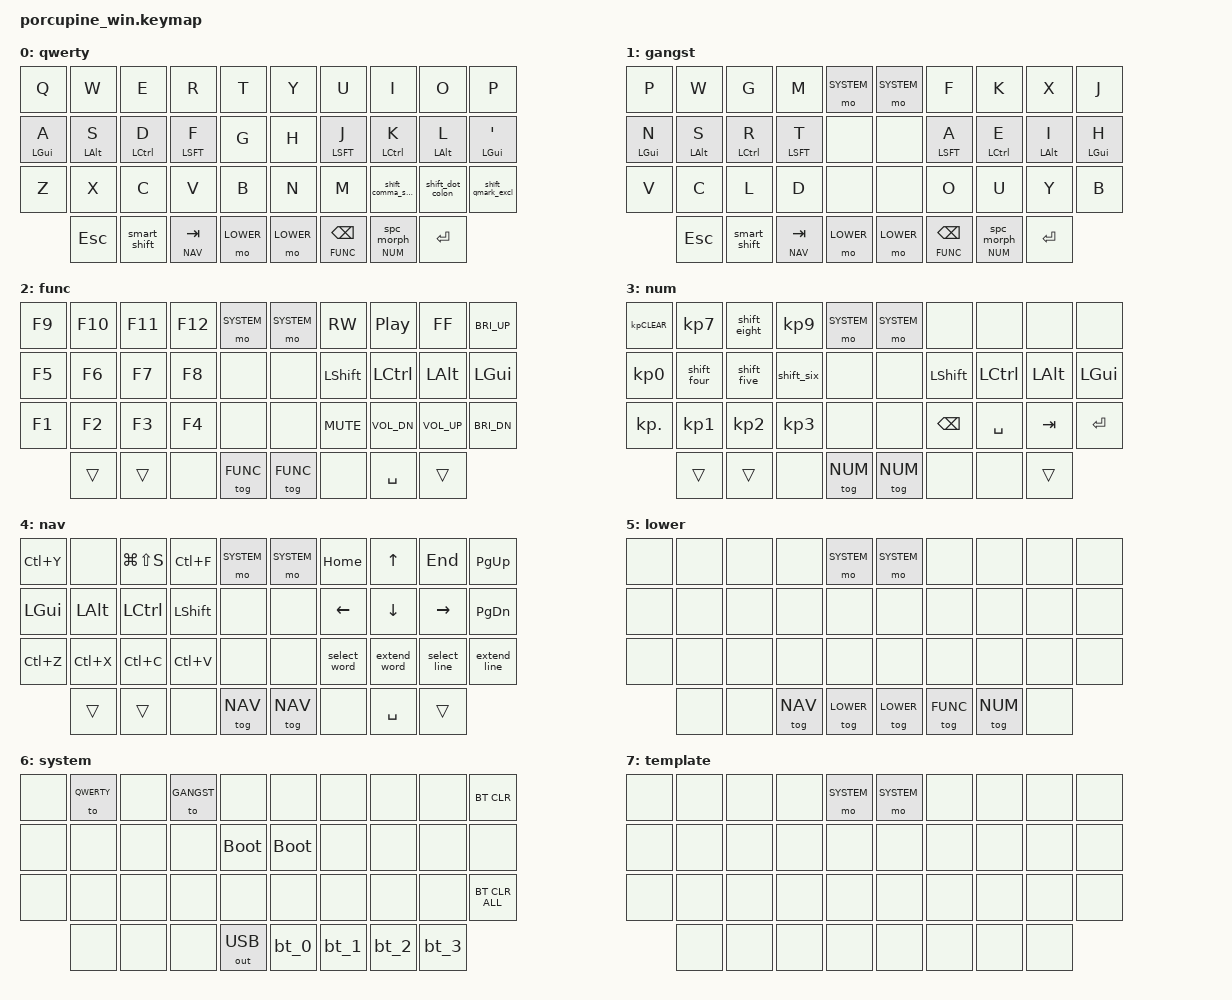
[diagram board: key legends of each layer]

/*
 * Copyright (c) 2021 The ZMK Contributors
 *
 * SPDX-License-Identifier: MIT
 */

#include <behaviors.dtsi>
#include <dt-bindings/zmk/keys.h>
#include <dt-bindings/zmk/bt.h>
#include <dt-bindings/zmk/outputs.h>

/* Helper Macros, based on https://github.com/urob/zmk-helpers/ */

#pragma once

#define ZMK_HELPER_STRINGIFY(x) #x

// Preprocessor mechanism to overload macros, cf. https://stackoverflow.com/a/27051616/6114651
#define VARGS_(_10, _9, _8, _7, _6, _5, _4, _3, _2, _1, N, ...) N
#define VARGS(...) VARGS_(__VA_ARGS__, 10, 9, 8, 7, 6, 5, 4, 3, 2, 1, 0)
#define CONCAT_(a, b) a##b
#define CONCAT(a, b) CONCAT_(a, b)

#define ZMK_BEHAVIOR_CORE_tap_dance  \
    compatible = "zmk,behavior-tap-dance"; \
    #binding-cells = <0>

#define ZMK_BEHAVIOR(name, type, ...) \
    name: name { \
        ZMK_BEHAVIOR_CORE_ ## type; \
        __VA_ARGS__ \
    };

#define ZMK_TAP_DANCE(name, ...) \
    ZMK_BEHAVIOR(name, tap_dance, __VA_ARGS__)

#define ZMK_TD_LAYER(name, layer) \
    ZMK_TAP_DANCE(name, \
        tapping-term-ms = <200>; \
        bindings = <&mo layer>, <&to layer>; \
)

#define QWERTY 0
#define GANGST 1
#define FUNC 2
#define NUM 3
#define NAV 4
#define LOWER 5
#define SYSTEM 6

/* System behavior and Macros */
/ {
    behaviors {
        // hold: momentary layer | dbl-tap: to layer
        ZMK_TD_LAYER(lower, LOWER)
    };
};

/* Blue-tooth controls */
/ {
    #ifdef BT_DISC_CMD
        // blue-tooth toggle
        behaviors {
            bt_0: bt_0 {
                compatible = "zmk,behavior-tap-dance";
                label = "BT_0";
                #binding-cells = <0>;
                tapping-term-ms = <200>;
                bindings = <&bt_select_0>, <&bt BT_DISC 0>;
            };
            bt_1: bt_1 {
                compatible = "zmk,behavior-tap-dance";
                label = "BT_1";
                #binding-cells = <0>;
                tapping-term-ms = <200>;
                bindings = <&bt_select_1>, <&bt BT_DISC 1>;
            };
            bt_2: bt_2 {
                compatible = "zmk,behavior-tap-dance";
                label = "BT_2";
                #binding-cells = <0>;
                tapping-term-ms = <200>;
                bindings = <&bt_select_2>, <&bt BT_DISC 2>;
            };
            bt_3: bt_3 {
                compatible = "zmk,behavior-tap-dance";
                label = "BT_3";
                #binding-cells = <0>;
                tapping-term-ms = <200>;
                bindings = <&bt_select_3>, <&bt BT_DISC 3>;
            };
        };
        macros {
            bt_select_0: bt_select_0 {
                label = "BT_SELECT_0";
                compatible = "zmk,behavior-macro";
                #binding-cells = <0>;
                bindings
                    = <&out OUT_BLE>,
                      <&bt BT_SEL 0>;
            };
            bt_select_1: bt_select_1 {
                label = "BT_SELECT_1";
                compatible = "zmk,behavior-macro";
                #binding-cells = <0>;
                bindings
                    = <&out OUT_BLE>,
                      <&bt BT_SEL 1>;
            };
            bt_select_2: bt_select_2 {
                label = "BT_SELECT_2";
                compatible = "zmk,behavior-macro";
                #binding-cells = <0>;
                bindings
                    = <&out OUT_BLE>,
                      <&bt BT_SEL 2>;
            };
            bt_select_3: bt_select_3 {
                label = "BT_SELECT_3";
                compatible = "zmk,behavior-macro";
                #binding-cells = <0>;
                bindings
                    = <&out OUT_BLE>,
                      <&bt BT_SEL 3>;
            };
        };
    #else
        // simple set blue-tooth
        macros {
            bt_0: bt_0 {
                label = "BT_0";
                compatible = "zmk,behavior-macro";
                #binding-cells = <0>;
                bindings
                    = <&out OUT_BLE>,
                      <&bt BT_SEL 0>;
            };
            bt_1: bt_1 {
                label = "BT_1";
                compatible = "zmk,behavior-macro";
                #binding-cells = <0>;
                bindings
                    = <&out OUT_BLE>,
                      <&bt BT_SEL 1>;
            };
            bt_2: bt_2 {
                label = "BT_2";
                compatible = "zmk,behavior-macro";
                #binding-cells = <0>;
                bindings
                    = <&out OUT_BLE>,
                      <&bt BT_SEL 2>;
            };
            bt_3: bt_3 {
                label = "BT_3";
                compatible = "zmk,behavior-macro";
                #binding-cells = <0>;
                bindings
                    = <&out OUT_BLE>,
                      <&bt BT_SEL 3>;
            };
        };
    #endif
};

/* Custom Defined Behaviors */
/ {
    // *************
    // OS specific values to use.
    //
    // - https://en.wikipedia.org/wiki/Table_of_keyboard_shortcuts
    // *************

    //win
    #define LOCK       LG(L)
    #define HOME       HOME
    #define END        END
    #define FWD        RIGHT
    #define BACK       LEFT
    #define UNDO       LC(Z)
    #define REDO       LC(Y)
    #define CUT        LC(X)
    #define COPY       LC(C)
    #define PASTE      LC(V)
    #define FIND       LC(F)
    #define FIND_NEXT  LC(G)
    #define FIND_PREV  LC(LS(G))
    #define PRNT_SCRN  LG(LS(S))


    // *************
    // key positions
    // *************

    //left

    //top
    #define KEY_LH_TP 0
    #define KEY_LH_TR 1
    #define KEY_LH_TM 2
    #define KEY_LH_TI 3
    #define KEY_LH_TX 4

    //mid
    #define KEY_LH_MP 10
    #define KEY_LH_MR 11
    #define KEY_LH_MM 12
    #define KEY_LH_MI 13
    #define KEY_LH_MX 14

    //bot
    #define KEY_LH_BP 20
    #define KEY_LH_BR 21
    #define KEY_LH_BM 22
    #define KEY_LH_BI 23
    #define KEY_LH_BX 24

    //thumb cluster (inner, left, home, right)
    #define KEY_LH_THI 30
    #define KEY_LH_THL 31
    #define KEY_LH_THH 32
    #define KEY_LH_THR 33

    //right

    //top
    #define KEY_RH_TX 5
    #define KEY_RH_TI 6
    #define KEY_RH_TM 7
    #define KEY_RH_TR 8
    #define KEY_RH_TP 9

    //mid
    #define KEY_RH_MX 15
    #define KEY_RH_MI 16
    #define KEY_RH_MM 17
    #define KEY_RH_MR 18
    #define KEY_RH_MP 19

    //bot
    #define KEY_RH_BX 25
    #define KEY_RH_BI 26
    #define KEY_RH_BM 27
    #define KEY_RH_BR 28
    #define KEY_RH_BP 29

    //thumb cluster (left, home, right, inner)
    #define KEY_RH_THL 34
    #define KEY_RH_THH 35
    #define KEY_RH_THR 36
    #define KEY_RH_THI 37

    behaviors {
        #define TAPPING_TERM_MS 280
        #define QUICK_TAP_MS 175
        #define PRIOR_IDLE_MS 150
        #define SELECT_WORD_DELAY 1

        // custom caps_word
        kaps_word: kaps_word {
            compatible = "zmk,behavior-caps-word";
            #binding-cells = <0>;
            continue-list = <
                UNDERSCORE MINUS
                BACKSPACE DELETE
                N1 N2 N3 N4 N5 N6 N7 N8 N9 N0
                KP_N1 KP_N2 KP_N3 KP_N4 KP_N5 KP_N6 KP_N7 KP_N8 KP_N9 KP_N0
            >;
        };

        // sticky-key config
        skq: sticky_key_quick_release {
            compatible = "zmk,behavior-sticky-key";
            #binding-cells = <1>;
            bindings = <&kp>;
            release-after-ms = <2000>;
            quick-release;
            ignore-modifiers;
        };

        // *************
        // Home Row Mods
        // *************

        #define LEFT_KEYS                                \
              0  1  2  3  4                              \
             10 11 12 13 14                              \
             20 21 22 23 24
        #define                             RIGHT_KEYS   \
                                           5  6  7  8  9 \
                                          15 16 17 18 19 \
                                          25 26 27 28 29
        #define THUMB_KEYS                               \
                      30 31 32 33   34 35 36 37

        hrm_left: homerow_mods_left {
            compatible = "zmk,behavior-hold-tap";
            label = "HOMEROW_MODS_LEFT";
            flavor = "balanced";
            tapping-term-ms = <TAPPING_TERM_MS>;
            quick_tap_ms = <QUICK_TAP_MS>;
            require-prior-idle-ms = <PRIOR_IDLE_MS>;
            #binding-cells = <2>;
            bindings = <&kp>, <&kp>;
            hold-trigger-key-positions = <RIGHT_KEYS THUMB_KEYS>;
            hold-trigger-on-release;
        };

        hrm_right: homerow_mods_right {
            compatible = "zmk,behavior-hold-tap";
            label = "HOMEROW_MODS_RIGHT";
            flavor = "balanced";
            tapping-term-ms = <TAPPING_TERM_MS>;
            quick_tap_ms = <QUICK_TAP_MS>;
            require-prior-idle-ms = <PRIOR_IDLE_MS>;
            #binding-cells = <2>;
            bindings = <&kp>, <&kp>;
            hold-trigger-key-positions = <LEFT_KEYS THUMB_KEYS>;
            hold-trigger-on-release;
        };

        // *************
        // Custom shift keys
        // *************

        // tap: comma | shift + tap: semicolon
        shift_comma_semi: shift_comma_semi {
            compatible = "zmk,behavior-mod-morph";
            #binding-cells = <0>;
            bindings = <&kp COMMA>, <&kp SEMI>;
            mods = <(MOD_LSFT|MOD_RSFT)>;
        };

        // tap: dot | shift + tap: colon
        shift_dot_colon: shift_dot_colon {
            compatible = "zmk,behavior-mod-morph";
            #binding-cells = <0>;
            bindings = <&kp DOT>, <&kp COLON>;
            mods = <(MOD_LSFT|MOD_RSFT)>;
        };

        // tap: qmark | shift + tap: excl
        shift_qmark_excl: shift_qmark_excl {
            compatible = "zmk,behavior-mod-morph";
            #binding-cells = <0>;
            bindings = <&kp QMARK>, <&kp EXCL>;
            mods = <(MOD_LSFT|MOD_RSFT)>;
        };

        // tap: lparen | shift + tap: rparen
        shift_parens: shift_parens {
            compatible = "zmk,behavior-mod-morph";
            #binding-cells = <0>;
            bindings = <&kp LPAR>, <&kp RPAR>;
            mods = <(MOD_LSFT|MOD_RSFT)>;
        };

        // tap: less_than | shift + tap: greater_than
        shift_angle: shift_angle {
                compatible = "zmk,behavior-mod-morph";
                #binding-cells = <0>;
                bindings = <&kp LESS_THAN>, <&kp GREATER_THAN>;
                mods = <(MOD_LSFT|MOD_RSFT)>;
            };

        // tap: lbracket | shift + tap: rbracket
        shift_brackets: shift_brackets {
            compatible = "zmk,behavior-mod-morph";
            #binding-cells = <0>;
            bindings = <&kp LBKT>, <&kp RBKT>;
            mods = <(MOD_LSFT|MOD_RSFT)>;
        };

        // tap: lbrace | shift + tap: rbrace
        shift_braces: shift_braces {
            compatible = "zmk,behavior-mod-morph";
            #binding-cells = <0>;
            bindings = <&kp LBRC>, <&kp RBRC>;
            mods = <(MOD_LSFT|MOD_RSFT)>;
        };

        // tap: sticky-shift | shift + tap/double-tap: caps-word | hold: shift
        smart_shift: smart_shift {
            compatible = "zmk,behavior-mod-morph";
            #binding-cells = <0>;
            bindings = <&skq LSHFT>, <&kaps_word>;
            mods = <(MOD_LSFT)>;
        };

        // tap: dot | shift + tap: extend_line_right
        shift_dot: shift_dot {
            compatible = "zmk,behavior-mod-morph";
            #binding-cells = <0>;
            bindings = <&kp KP_DOT>, <&extend_line_right>;
            mods = <(MOD_LSFT|MOD_RSFT)>;
        };

        // tap: 4 | shift + tap: left
        shift_four: shift_four {
            compatible = "zmk,behavior-mod-morph";
            #binding-cells = <0>;
            bindings = <&kp KP_N4>, <&kp LEFT>;
            mods = <(MOD_LSFT|MOD_RSFT)>;
        };

        // tap: 5 | shift + tap: down
        shift_five: shift_five {
            compatible = "zmk,behavior-mod-morph";
            #binding-cells = <0>;
            bindings = <&kp KP_N5>, <&kp DOWN>;
            mods = <(MOD_LSFT|MOD_RSFT)>;
        };

        // tap: 6 | shift + tap: right
        shift_six: shift_six {
            compatible = "zmk,behavior-mod-morph";
            #binding-cells = <0>;
            bindings = <&kp KP_N6>, <&kp RIGHT>;
            mods = <(MOD_LSFT|MOD_RSFT)>;
        };

        // tap: 8 | shift + tap: up
        shift_eight: shift_eight {
            compatible = "zmk,behavior-mod-morph";
            #binding-cells = <0>;
            bindings = <&kp KP_N8>, <&kp UP>;
            mods = <(MOD_LSFT|MOD_RSFT)>;
        };

        // *************
        // Custom layer tap
        // *************

        lt_thumb: layer_tap_thumb {
            compatible = "zmk,behavior-hold-tap";
            #binding-cells = <2>;
            flavor = "balanced";
            tapping-term-ms = <200>;
            quick-tap-ms = <QUICK_TAP_MS>;
            require-prior-idle-ms = <PRIOR_IDLE_MS>;
            bindings = <&mo>, <&kp>;
        };

        // tap: space | shift + tap: dot -> space -> sticky shift | hold: activate layer
        lt_space: lt_spc {
            compatible = "zmk,behavior-hold-tap";
            #binding-cells = <2>;
            flavor = "balanced";
            tapping-term-ms = <200>;
            quick-tap-ms = <QUICK_TAP_MS>;
            bindings = <&mo>, <&spc_morph>;
        };

        // tap: space | shift + tap: dot -> space -> sticky shift
        spc_morph: spc_morph {
            compatible = "zmk,behavior-mod-morph";
            #binding-cells = <0>;
            mods = <(MOD_LSFT|MOD_RSFT)>;
            bindings = <&kp SPACE>, <&dot_spc>;
        };

        //macro: dot -> space -> sticky shift
        dot_spc: dot_spc {
            compatible = "zmk,behavior-macro";
            #binding-cells = <0>;
            wait-ms = <0>;
            tap-ms = <5>;
            bindings = <&kp DOT &kp SPACE &skq LSHFT>;
        };

        // tap: selects word to right | shift + tab: selects word to left
        select_word: select_word {
            compatible = "zmk,behavior-mod-morph";
            #binding-cells = <0>;
            bindings = <&select_word_right>, <&select_word_left>;
            mods = <(MOD_LSFT|MOD_RSFT)>;
        };
        ZMK_MACRO(select_word_right,
            wait-ms = <SELECT_WORD_DELAY>;
            tap-ms = <SELECT_WORD_DELAY>;
            bindings = <&kp LC(RIGHT) &kp LC(LEFT) &kp LC(LS(RIGHT))>;
        )
        ZMK_MACRO(select_word_left,
            wait-ms = <SELECT_WORD_DELAY>;
            tap-ms = <SELECT_WORD_DELAY>;
            bindings = <&kp LC(LEFT) &kp LC(RIGHT) &kp LC(LS(LEFT))>;
        )

        // tap: extends current selection one word right | shift + tap: extends current selection one word left
        extend_word: extend_word {
            compatible = "zmk,behavior-mod-morph";
            #binding-cells = <0>;
            bindings = <&extend_word_right>, <&extend_word_left>;
            mods = <(MOD_LSFT|MOD_RSFT)>;
        };
        ZMK_MACRO(extend_word_right,
            wait-ms = <SELECT_WORD_DELAY>;
            tap-ms = <SELECT_WORD_DELAY>;
            bindings = <&kp LC(LS(RIGHT))>;
        )
        ZMK_MACRO(extend_word_left,
            wait-ms = <SELECT_WORD_DELAY>;
            tap-ms = <SELECT_WORD_DELAY>;
            bindings = <&kp LC(LS(LEFT))>;
        )

        // tap: selects current line to right | shift + tap: select current line to left
        select_line: select_line {
            compatible = "zmk,behavior-mod-morph";
            #binding-cells = <0>;
            bindings = <&select_line_right>, <&select_line_left>;
            mods = <(MOD_LSFT|MOD_RSFT)>;
        };
        ZMK_MACRO(select_line_right,
            wait-ms = <SELECT_WORD_DELAY>;
            tap-ms = <SELECT_WORD_DELAY>;
            bindings = <&kp HOME &kp LS(END)>;
        )
        ZMK_MACRO(select_line_left,
            wait-ms = <SELECT_WORD_DELAY>;
            tap-ms = <SELECT_WORD_DELAY>;
            bindings = <&kp END &kp LS(HOME)>;
        )

        // tap: extends current selection one line right (down) | shift + tap: extends current selection one line left (up)
        extend_line: extend_line {
            compatible = "zmk,behavior-mod-morph";
            #binding-cells = <0>;
            bindings = <&extend_line_right>, <&extend_line_left>;
            mods = <(MOD_LSFT|MOD_RSFT)>;
        };
        ZMK_MACRO(extend_line_right,
            wait-ms = <SELECT_WORD_DELAY>;
            tap-ms = <SELECT_WORD_DELAY>;
            bindings = <&kp LS(DOWN) &kp LS(END)>;
        )
        ZMK_MACRO(extend_line_left,
            wait-ms = <SELECT_WORD_DELAY>;
            tap-ms = <SELECT_WORD_DELAY>;
            bindings = <&kp LS(UP) &kp LS(HOME)>;
        )
    };

    combos {
        compatible = "zmk,combos";

        // COMBO_TIMEOUT defines how much time you have left (milliseconds)
        // after pressing the first key in a ZMK combo to finish the whole chord.
        //
        #ifndef COMBO_TIMEOUT
            #define COMBO_TIMEOUT 50
        #endif

        // *************
        // 30 key combos
        // *************

        // left combos
        // horizontal
        // top
        cmb_q {
            timeout-ms = <COMBO_TIMEOUT>;
            key-positions = <KEY_LH_TP KEY_LH_TR>;
            bindings = <&kp Q>;
            layers = <QWERTY GANGST>;
            require-prior-idle-ms = <PRIOR_IDLE_MS>;
        };
        cmb_angle {
            timeout-ms = <COMBO_TIMEOUT>;
            key-positions = <KEY_LH_TR KEY_LH_TM>;
            bindings = <&shift_angle>;
            layers = <QWERTY GANGST>;
            require-prior-idle-ms = <PRIOR_IDLE_MS>;
        };
        cmb_paren {
            timeout-ms = <COMBO_TIMEOUT>;
            key-positions = <KEY_LH_TM KEY_LH_TI>;
            bindings = <&shift_parens>;
            layers = <QWERTY GANGST>;
            require-prior-idle-ms = <PRIOR_IDLE_MS>;
        };

        // mid
        // bot
        cmb_z {
            timeout-ms = <COMBO_TIMEOUT>;
            key-positions = <KEY_LH_BP KEY_LH_BR>;
            bindings = <&kp Z>;
            layers = <QWERTY GANGST>;
            require-prior-idle-ms = <PRIOR_IDLE_MS>;
        };
        cmb_brace {
            timeout-ms = <COMBO_TIMEOUT>;
            key-positions = <KEY_LH_BR KEY_LH_BM>;
            bindings = <&shift_braces>;
            layers = <QWERTY GANGST>;
            require-prior-idle-ms = <PRIOR_IDLE_MS>;
        };
        cmb_bracket {
            timeout-ms = <COMBO_TIMEOUT>;
            key-positions = <KEY_LH_BM KEY_LH_BI>;
            bindings = <&shift_brackets>;
            layers = <QWERTY GANGST>;
            require-prior-idle-ms = <PRIOR_IDLE_MS>;
        };


        // vertical
        // index
        cmb_plus_x {
            timeout-ms = <COMBO_TIMEOUT>;
            key-positions = <KEY_LH_TI KEY_LH_MI>;
            bindings = <&kp PLUS>;
            layers = <QWERTY GANGST NUM>;
            require-prior-idle-ms = <PRIOR_IDLE_MS>;
        };
        cmb_minus_x {
            timeout-ms = <COMBO_TIMEOUT>;
            key-positions = <KEY_LH_MI KEY_LH_BI>;
            bindings = <&kp MINUS>;
            layers = <QWERTY GANGST NUM>;
            require-prior-idle-ms = <PRIOR_IDLE_MS>;
        };

        // middle
        cmb_star_x {
            timeout-ms = <COMBO_TIMEOUT>;
            key-positions = <KEY_LH_TM KEY_LH_MM>;
            bindings = <&kp STAR>;
            layers = <QWERTY GANGST NUM>;
            require-prior-idle-ms = <PRIOR_IDLE_MS>;
        };
        cmb_slash_x {
            timeout-ms = <COMBO_TIMEOUT>;
            key-positions = <KEY_LH_MM KEY_LH_BM>;
            bindings = <&kp SLASH>;
            layers = <QWERTY GANGST NUM>;
            require-prior-idle-ms = <PRIOR_IDLE_MS>;
        };

        // ring
        cmb_dollar_x {
            timeout-ms = <COMBO_TIMEOUT>;
            key-positions = <KEY_LH_TR KEY_LH_MR>;
            bindings = <&kp DOLLAR>;
            layers = <QWERTY GANGST NUM>;
            require-prior-idle-ms = <PRIOR_IDLE_MS>;
        };
        cmb_equal_x {
            timeout-ms = <COMBO_TIMEOUT>;
            key-positions = <KEY_LH_MR KEY_LH_BR>;
            bindings = <&kp EQUAL>;
            layers = <QWERTY GANGST NUM>;
            require-prior-idle-ms = <PRIOR_IDLE_MS>;
        };

        // pinky
        cmb_caret_x {
            timeout-ms = <COMBO_TIMEOUT>;
            key-positions = <KEY_LH_TP KEY_LH_MP>;
            bindings = <&kp CARET>;
            layers = <QWERTY GANGST NUM>;
            require-prior-idle-ms = <PRIOR_IDLE_MS>;
        };
        cmb_percent_x {
            timeout-ms = <COMBO_TIMEOUT>;
            key-positions = <KEY_LH_MP KEY_LH_BP>;
            bindings = <&kp PERCENT>;
            layers = <QWERTY GANGST NUM>;
            require-prior-idle-ms = <PRIOR_IDLE_MS>;
        };


        // right combos
        // horizontal
        // top
        // mid
        cmb_quote {
            timeout-ms = <COMBO_TIMEOUT>;
            key-positions = <KEY_RH_MR KEY_RH_MP>;
            bindings = <&kp SQT>;
            layers = <QWERTY GANGST>;
            require-prior-idle-ms = <PRIOR_IDLE_MS>;
        };

        // bot
        cmb_dot {
            timeout-ms = <COMBO_TIMEOUT>;
            key-positions = <KEY_RH_BI KEY_RH_BM>;
            bindings = <&shift_dot_colon>;
            layers = <QWERTY GANGST>;
            require-prior-idle-ms = <PRIOR_IDLE_MS>;
        };
        cmb_comma {
            timeout-ms = <COMBO_TIMEOUT>;
            key-positions = <KEY_RH_BM KEY_RH_BR>;
            bindings = <&shift_comma_semi>;
            layers = <QWERTY GANGST>;
            require-prior-idle-ms = <PRIOR_IDLE_MS>;
        };
        cmb_question {
            timeout-ms = <COMBO_TIMEOUT>;
            key-positions = <KEY_RH_BR KEY_RH_BP>;
            bindings = <&shift_qmark_excl>;
            layers = <QWERTY GANGST>;
            require-prior-idle-ms = <PRIOR_IDLE_MS>;
        };

        // vertical
        // index
        cmb_hash_x {
            timeout-ms = <COMBO_TIMEOUT>;
            key-positions = <KEY_RH_TI KEY_RH_MI>;
            bindings = <&kp HASH>;
            layers = <QWERTY GANGST>;
            require-prior-idle-ms = <PRIOR_IDLE_MS>;
        };
        cmb_under_x {
            timeout-ms = <COMBO_TIMEOUT>;
            key-positions = <KEY_RH_MI KEY_RH_BI>;
            bindings = <&kp UNDER>;
            layers = <QWERTY GANGST>;
            require-prior-idle-ms = <PRIOR_IDLE_MS>;
        };

        // middle
        cmb_at_x {
            timeout-ms = <COMBO_TIMEOUT>;
            key-positions = <KEY_RH_TM KEY_RH_MM>;
            bindings = <&kp AT>;
            layers = <QWERTY GANGST>;
            require-prior-idle-ms = <PRIOR_IDLE_MS>;
        };
        cmb_grave_x {
            timeout-ms = <COMBO_TIMEOUT>;
            key-positions = <KEY_RH_MM KEY_RH_BM>;
            bindings = <&kp GRAVE>;
            layers = <QWERTY GANGST>;
            require-prior-idle-ms = <PRIOR_IDLE_MS>;
        };

        // ring
        cmb_amps_x {
            timeout-ms = <COMBO_TIMEOUT>;
            key-positions = <KEY_RH_TR KEY_RH_MR>;
            bindings = <&kp AMPS>;
            layers = <QWERTY GANGST>;
            require-prior-idle-ms = <PRIOR_IDLE_MS>;
        };
        cmb_pipe_x {
            timeout-ms = <COMBO_TIMEOUT>;
            key-positions = <KEY_RH_MR KEY_RH_BR>;
            bindings = <&kp PIPE>;
            layers = <QWERTY GANGST>;
            require-prior-idle-ms = <PRIOR_IDLE_MS>;
        };

        // pinky
        cmb_tilde_x {
            timeout-ms = <COMBO_TIMEOUT>;
            key-positions = <KEY_RH_TP KEY_RH_MP>;
            bindings = <&kp TILDE>;
            layers = <QWERTY GANGST>;
            require-prior-idle-ms = <PRIOR_IDLE_MS>;
        };
        cmb_bslash_x {
            timeout-ms = <COMBO_TIMEOUT>;
            key-positions = <KEY_RH_MP KEY_RH_BP>;
            bindings = <&kp BACKSLASH>;
            layers = <QWERTY GANGST>;
            require-prior-idle-ms = <PRIOR_IDLE_MS>;
        };
    };
};

/ {
  keymap {
    compatible = "zmk,keymap";

    qwerty {
      bindings = <
        &kp Q             &kp W             &kp E             &kp R              &kp T                     &kp Y        &kp U                &kp I              &kp O              &kp P
        &hrm_left LGUI A  &hrm_left LALT S  &hrm_left LCTL D  &hrm_left LSFT F   &kp G                     &kp H        &hrm_right LSFT J    &hrm_right LCTL K  &hrm_right LALT L  &hrm_right LGUI SQT
        &kp Z             &kp X             &kp C             &kp V              &kp B                     &kp N        &kp M                &shift_comma_semi  &shift_dot_colon   &shift_qmark_excl
                          &kp ESC           &smart_shift      &lt_thumb NAV TAB  &mo LOWER                 &mo LOWER    &lt_thumb FUNC BSPC  &lt_space NUM 0    &kp RET
      >;
    };

    gangst {
      bindings = <
        &kp P             &kp W             &kp G             &kp M              &mo SYSTEM                &mo SYSTEM   &kp F                &kp K              &kp X              &kp J
        &hrm_left LGUI N  &hrm_left LALT S  &hrm_left LCTL R  &hrm_left LSFT T   &none                     &none        &hrm_right LSFT A    &hrm_right LCTL E  &hrm_right LALT I  &hrm_right LGUI H
        &kp V             &kp C             &kp L             &kp D              &none                     &none        &kp O                &kp U              &kp Y              &kp B
                          &kp ESC           &smart_shift      &lt_thumb NAV TAB  &mo LOWER                 &mo LOWER    &lt_thumb FUNC BSPC  &lt_space NUM 0    &kp RET
      >;
    };

    func {
      bindings = <
        &kp F9            &kp F10           &kp F11           &kp F12            &mo SYSTEM                &mo SYSTEM   &kp C_RW             &kp C_PP           &kp C_FF           &kp C_BRI_UP
        &kp F5            &kp F6            &kp F7            &kp F8             &none                     &none        &kp LSHFT            &kp LCTRL          &kp LALT           &kp LGUI
        &kp F1            &kp F2            &kp F3            &kp F4             &none                     &none        &kp C_MUTE           &kp C_VOL_DN       &kp C_VOL_UP       &kp C_BRI_DN
                          &trans            &trans            &none              &tog FUNC                 &tog FUNC    &none                &kp SPACE          &trans
      >;
    };

    num {
      bindings = <
        &kp KP_CLEAR      &kp KP_N7         &shift_eight      &kp KP_N9          &mo SYSTEM                &mo SYSTEM   &none                &none              &none              &none
        &kp KP_N0         &shift_four       &shift_five       &shift_six         &none                     &none        &kp LSHFT            &kp LCTRL          &kp LALT           &kp LGUI
        &kp KP_DOT        &kp KP_N1         &kp KP_N2         &kp KP_N3          &none                     &none        &kp BSPC             &kp SPACE          &kp TAB            &kp RET
                          &trans            &trans            &none              &tog NUM                  &tog NUM     &none                &none              &trans
      >;
    };

    nav {
      bindings = <
        &kp REDO          &none             &kp PRNT_SCRN     &kp FIND           &mo SYSTEM                &mo SYSTEM   &kp HOME             &kp UP             &kp END            &kp PG_UP
        &kp LGUI          &kp LALT          &kp LCTRL         &kp LSHFT          &none                     &none        &kp LEFT             &kp DOWN           &kp RIGHT          &kp PG_DN
        &kp UNDO          &kp CUT           &kp COPY          &kp PASTE          &none                     &none        &select_word         &extend_word       &select_line       &extend_line
                          &trans            &trans            &none              &tog NAV                  &tog NAV     &none                &kp SPACE          &trans
      >;
    };

    lower {
      bindings = <
        &none             &none             &none             &none              &mo SYSTEM                &mo SYSTEM   &none                &none              &none              &none
        &none             &none             &none             &none              &none                     &none        &none                &none              &none              &none
        &none             &none             &none             &none              &none                     &none        &none                &none              &none              &none
                          &none             &none             &tog NAV           &tog LOWER                &tog LOWER   &tog FUNC            &tog NUM           &none
      >;
    };

    system {
      bindings = <
        &none             &to QWERTY        &none             &to GANGST         &none                     &none        &none                &none              &none              &bt BT_CLR
        &none             &none             &none             &none              &bootloader               &bootloader  &none                &none              &none              &none
        &none             &none             &none             &none              &none                     &none        &none                &none              &none              &bt BT_CLR_ALL
                          &none             &none             &none              &out OUT_USB              &bt_0        &bt_1                &bt_2              &bt_3
      >;
    };

    template {
      bindings = <
        &none             &none             &none             &none              &mo SYSTEM                &mo SYSTEM   &none                &none              &none              &none
        &none             &none             &none             &none              &none                     &none        &none                &none              &none              &none
        &none             &none             &none             &none              &none                     &none        &none                &none              &none              &none
                          &none             &none             &none              &none                     &none        &none                &none              &none
      >;
    };

  };
};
